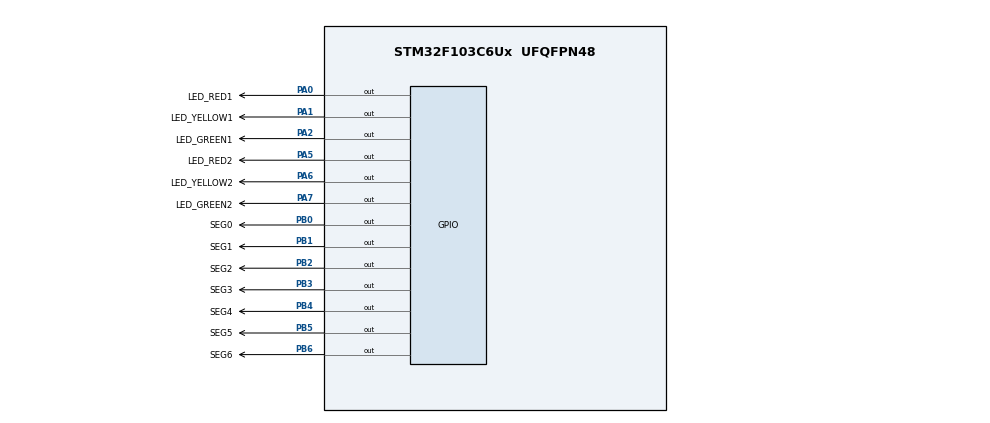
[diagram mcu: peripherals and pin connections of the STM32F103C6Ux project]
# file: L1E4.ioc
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Mcu.Family=STM32F1
Mcu.Name=STM32F103C6Ux
Mcu.Package=UFQFPN48
NVIC.PriorityGroup=NVIC_PRIORITYGROUP_4
PA0-WKUP.GPIO_Label=LED_RED1
PA0-WKUP.Signal=GPIO_Output
PA1.GPIO_Label=LED_YELLOW1
PA1.Signal=GPIO_Output
PA2.GPIO_Label=LED_GREEN1
PA2.Signal=GPIO_Output
PA5.GPIO_Label=LED_RED2
PA5.Signal=GPIO_Output
PA6.GPIO_Label=LED_YELLOW2
PA6.Signal=GPIO_Output
PA7.GPIO_Label=LED_GREEN2
PA7.Signal=GPIO_Output
PB0.GPIO_Label=SEG0
PB0.Signal=GPIO_Output
PB1.GPIO_Label=SEG1
PB1.Signal=GPIO_Output
PB2.GPIO_Label=SEG2
PB2.Signal=GPIO_Output
PB3.GPIO_Label=SEG3
PB3.Signal=GPIO_Output
PB4.GPIO_Label=SEG4
PB4.Signal=GPIO_Output
PB5.GPIO_Label=SEG5
PB5.Signal=GPIO_Output
PB6.GPIO_Label=SEG6
PB6.Signal=GPIO_Output
ProjectManager.HeapSize=0x200
ProjectManager.StackSize=0x400
ProjectManager.TargetToolchain=STM32CubeIDE
RCC.APB1Freq_Value=8000000
RCC.APB2Freq_Value=8000000
VP_SYS_VS_ND.Mode=No_Debug
board=custom

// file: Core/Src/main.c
/* USER CODE BEGIN Header */
/**
  ******************************************************************************
  * @file           : main.c
  * @brief          : Main program body
  ******************************************************************************
  * @attention
  *
  * <h2><center>&copy; Copyright (c) 2023 STMicroelectronics.
  * All rights reserved.</center></h2>
  *
  * This software component is licensed by ST under BSD 3-Clause license,
  * the "License"; You may not use this file except in compliance with the
  * License. You may obtain a copy of the License at:
  *                        opensource.org/licenses/BSD-3-Clause
  *
  ******************************************************************************
  */
/* USER CODE END Header */
#include "main.h"

void SystemClock_Config(void);
static void MX_GPIO_Init(void);
/* USER CODE BEGIN PFP */
void display7SEG(int);
/* USER CODE END PFP */

int main(void)
{

  /* MCU Configuration--------------------------------------------------------*/

  /* Reset of all peripherals, Initializes the Flash interface and the Systick. */
  HAL_Init();

  /* Configure the system clock */
  SystemClock_Config();

  /* Initialize all configured peripherals */
  MX_GPIO_Init();

  /* Infinite loop */
  /* USER CODE BEGIN WHILE */

  int duration1 = 0, duration2 = 0;
  int ledR1 = 0, ledY1 = 0, ledG1 = 0,
  		  ledR2 = 0, ledY2 = 0, ledG2 = 0;
  int num = 0;

  while (1)
  {
    /* USER CODE END WHILE */
	  if (!duration1){
	  	  		  /* CURRENT IS RED, ABOUT TO TURN GREEN */
	  	  	  		if (ledR1 && !ledG1 && !ledY1){
	  	  	  			HAL_GPIO_WritePin(LED_RED1_GPIO_Port , LED_RED1_Pin, GPIO_PIN_SET);
	  	  	  			HAL_GPIO_WritePin(LED_GREEN1_GPIO_Port , LED_GREEN1_Pin, GPIO_PIN_RESET);
	  	  	  			ledR1 = 0; ledG1 = 1; ledY1 = 0;
	  	  	  			duration1 = 3;
	  	  	  		}

	  	  	  		/* CURRENT IS GREEN, ABOUT TO TURN YELLOW */
	  	  	  		else if (!ledR1 && ledG1 && !ledY1){
	  	  		  		HAL_GPIO_WritePin(LED_GREEN1_GPIO_Port , LED_GREEN1_Pin, GPIO_PIN_SET);
	  	  				HAL_GPIO_WritePin(LED_YELLOW1_GPIO_Port , LED_YELLOW1_Pin, GPIO_PIN_RESET);
	  	  	  			ledR1 = 0; ledG1 = 0; ledY1 = 1;
	  	  	  			duration1 = 2;
	  	  	  		}

	  	  	  		/* CURRENT IS YELLOW, ABOUT TO TURN RED */
	  	  	  		else if (!ledR1 && !ledG1 && ledY1){
	  	  	  			HAL_GPIO_WritePin(LED_RED1_GPIO_Port , LED_RED1_Pin, GPIO_PIN_RESET);
	  	  	  			HAL_GPIO_WritePin(LED_YELLOW1_GPIO_Port , LED_YELLOW1_Pin, GPIO_PIN_SET);
	  	  	  			ledR1 = 1; ledG1 = 0; ledY1 = 0;
	  	  	  			duration1 = 5;
	  	  	  		}

	  	  	  		else{
	  	  	  			HAL_GPIO_WritePin(LED_RED1_GPIO_Port , LED_RED1_Pin, GPIO_PIN_RESET);
	  	  	  			HAL_GPIO_WritePin(LED_GREEN1_GPIO_Port , LED_GREEN1_Pin, GPIO_PIN_SET);
	  	  	  			HAL_GPIO_WritePin(LED_YELLOW1_GPIO_Port , LED_YELLOW1_Pin, GPIO_PIN_SET);
	  	  	  			ledR1 = 1; ledG1 = 0; ledY1 = 0;
	  	  	  			duration1 = 5;
	  	  	  		}
	  	  	  	}
	  	  	  	duration1--;

	  	  	  if (!duration2){
	  	  	 	  /* CURRENT IS RED, ABOUT TO TURN GREEN */
	  	  	  		if (ledR2 && !ledG2 && !ledY2){
	  	  	  			HAL_GPIO_WritePin(LED_RED2_GPIO_Port , LED_RED2_Pin, GPIO_PIN_SET);
	  	  	   			HAL_GPIO_WritePin(LED_GREEN2_GPIO_Port , LED_GREEN2_Pin, GPIO_PIN_RESET);
	  	  	   			ledR2 = 0; ledG2 = 1; ledY2 = 0;
	  	  	   			duration2 = 3;
	  	  	   		}

	  	  	  		/* CURRENT IS GREEN, ABOUT TO TURN YELLOW */
	  	  	   		else if (!ledR2 && ledG2 && !ledY2){
	  	  	 	  		HAL_GPIO_WritePin(LED_GREEN2_GPIO_Port , LED_GREEN2_Pin, GPIO_PIN_SET);
	  	  	 			HAL_GPIO_WritePin(LED_YELLOW2_GPIO_Port , LED_YELLOW2_Pin, GPIO_PIN_RESET);
	  	  	   			ledR2 = 0; ledG2 = 0; ledY2 = 1;
	  	  	   			duration2 = 2;
	  	  	   		}

	  	  	   		/* CURRENT IS YELLOW, ABOUT TO TURN RED */
	  	  	   		else if (!ledR2 && !ledG2 && ledY2){
	  	  	   			HAL_GPIO_WritePin(LED_RED2_GPIO_Port , LED_RED2_Pin, GPIO_PIN_RESET);
	  	  	   			HAL_GPIO_WritePin(LED_YELLOW2_GPIO_Port , LED_YELLOW2_Pin, GPIO_PIN_SET);
	  	  	   			ledR2 = 1; ledG2 = 0; ledY2 = 0;
	  	  	   			duration2 = 5;
	  	  	   		}

	  	  	   		else{
	  	  	   			HAL_GPIO_WritePin(LED_RED2_GPIO_Port , LED_RED2_Pin, GPIO_PIN_SET);
	  	  	   			HAL_GPIO_WritePin(LED_GREEN2_GPIO_Port , LED_GREEN2_Pin, GPIO_PIN_RESET);
	  	  	   			HAL_GPIO_WritePin(LED_YELLOW2_GPIO_Port , LED_YELLOW2_Pin, GPIO_PIN_SET);
	  	  	   			ledR2 = 0; ledG2 = 1; ledY2 = 0;
	  	  	   			duration2 = 3;
	  	  	   		}
	  	  	   	}
	    	  	  	duration2--;

	    	 if (num >= 10) num = 0;
	    	 display7SEG(num++);

	  	  	  	HAL_Delay(1000);
  }
}

void SystemClock_Config(void)
{
  RCC_OscInitTypeDef RCC_OscInitStruct = {0};
  RCC_ClkInitTypeDef RCC_ClkInitStruct = {0};

  /** Initializes the RCC Oscillators according to the specified parameters
  * in the RCC_OscInitTypeDef structure.
  */
  RCC_OscInitStruct.OscillatorType = RCC_OSCILLATORTYPE_HSI;
  RCC_OscInitStruct.HSIState = RCC_HSI_ON;
  RCC_OscInitStruct.HSICalibrationValue = RCC_HSICALIBRATION_DEFAULT;
  RCC_OscInitStruct.PLL.PLLState = RCC_PLL_NONE;
  if (HAL_RCC_OscConfig(&RCC_OscInitStruct) != HAL_OK)
  {
    Error_Handler();
  }
  /** Initializes the CPU, AHB and APB buses clocks
  */
  RCC_ClkInitStruct.ClockType = RCC_CLOCKTYPE_HCLK|RCC_CLOCKTYPE_SYSCLK
                              |RCC_CLOCKTYPE_PCLK1|RCC_CLOCKTYPE_PCLK2;
  RCC_ClkInitStruct.SYSCLKSource = RCC_SYSCLKSOURCE_HSI;
  RCC_ClkInitStruct.AHBCLKDivider = RCC_SYSCLK_DIV1;
  RCC_ClkInitStruct.APB1CLKDivider = RCC_HCLK_DIV1;
  RCC_ClkInitStruct.APB2CLKDivider = RCC_HCLK_DIV1;

  if (HAL_RCC_ClockConfig(&RCC_ClkInitStruct, FLASH_LATENCY_0) != HAL_OK)
  {
    Error_Handler();
  }
}

static void MX_GPIO_Init(void)
{
  GPIO_InitTypeDef GPIO_InitStruct = {0};

  /* GPIO Ports Clock Enable */
  __HAL_RCC_GPIOA_CLK_ENABLE();
  __HAL_RCC_GPIOB_CLK_ENABLE();

  /*Configure GPIO pin Output Level */
  HAL_GPIO_WritePin(GPIOA, LED_RED1_Pin|LED_YELLOW1_Pin|LED_GREEN1_Pin|LED_RED2_Pin
                          |LED_YELLOW2_Pin|LED_GREEN2_Pin, GPIO_PIN_RESET);

  /*Configure GPIO pin Output Level */
  HAL_GPIO_WritePin(GPIOB, SEG0_Pin|SEG1_Pin|SEG2_Pin|SEG3_Pin
                          |SEG4_Pin|SEG5_Pin|SEG6_Pin, GPIO_PIN_RESET);

  /*Configure GPIO pins : LED_RED1_Pin LED_YELLOW1_Pin SEG6REEN1_Pin LED_RED2_Pin
                           LED_YELLOW2_Pin SEG6REEN2_Pin */
  GPIO_InitStruct.Pin = LED_RED1_Pin|LED_YELLOW1_Pin|LED_GREEN1_Pin|LED_RED2_Pin
                          |LED_YELLOW2_Pin|LED_GREEN2_Pin;
  GPIO_InitStruct.Mode = GPIO_MODE_OUTPUT_PP;
  GPIO_InitStruct.Pull = GPIO_NOPULL;
  GPIO_InitStruct.Speed = GPIO_SPEED_FREQ_LOW;
  HAL_GPIO_Init(GPIOA, &GPIO_InitStruct);

  /*Configure GPIO pins : SEG0_Pin SEG1_Pin SEG2_Pin SEG3_Pin
                           SEG4_Pin SEG5_Pin SEG6_Pin */
  GPIO_InitStruct.Pin = SEG0_Pin|SEG1_Pin|SEG2_Pin|SEG3_Pin
                          |SEG4_Pin|SEG5_Pin|SEG6_Pin;
  GPIO_InitStruct.Mode = GPIO_MODE_OUTPUT_PP;
  GPIO_InitStruct.Pull = GPIO_NOPULL;
  GPIO_InitStruct.Speed = GPIO_SPEED_FREQ_LOW;
  HAL_GPIO_Init(GPIOB, &GPIO_InitStruct);

}

/* USER CODE BEGIN 4 */
void display7SEG(int counter){
	switch (counter){
		case 0:
			HAL_GPIO_WritePin(GPIOB , SEG0_Pin | SEG1_Pin | SEG2_Pin | SEG3_Pin |
							  SEG4_Pin | SEG5_Pin , GPIO_PIN_RESET);
			HAL_GPIO_WritePin(GPIOB , SEG6_Pin , GPIO_PIN_SET);
			break;

		case 1:
			HAL_GPIO_WritePin(GPIOB , SEG1_Pin | SEG2_Pin , GPIO_PIN_RESET);
			HAL_GPIO_WritePin(GPIOB , SEG0_Pin | SEG3_Pin | SEG4_Pin | SEG5_Pin | SEG6_Pin , GPIO_PIN_SET);
			break;

		case 2:
			HAL_GPIO_WritePin(GPIOB , SEG0_Pin | SEG1_Pin | SEG3_Pin | SEG4_Pin | SEG6_Pin , GPIO_PIN_RESET);
			HAL_GPIO_WritePin(GPIOB , SEG2_Pin | SEG5_Pin , GPIO_PIN_SET);
			break;

		case 3:
			HAL_GPIO_WritePin(GPIOB , SEG0_Pin | SEG1_Pin | SEG2_Pin | SEG3_Pin | SEG6_Pin , GPIO_PIN_RESET);
			HAL_GPIO_WritePin(GPIOB , SEG4_Pin | SEG5_Pin , GPIO_PIN_SET);
			break;

		case 4:
			HAL_GPIO_WritePin(GPIOB , SEG1_Pin | SEG2_Pin | SEG5_Pin | SEG6_Pin , GPIO_PIN_RESET);
			HAL_GPIO_WritePin(GPIOB , SEG0_Pin | SEG3_Pin | SEG4_Pin , GPIO_PIN_SET);
			break;

		case 5:
			HAL_GPIO_WritePin(GPIOB , SEG0_Pin | SEG2_Pin | SEG3_Pin | SEG5_Pin | SEG6_Pin , GPIO_PIN_RESET);
			HAL_GPIO_WritePin(GPIOB , SEG1_Pin | SEG4_Pin , GPIO_PIN_SET);
			break;

		case 6:
			HAL_GPIO_WritePin(GPIOB , SEG0_Pin | SEG2_Pin | SEG3_Pin | SEG4_Pin |
							  SEG5_Pin | SEG6_Pin , GPIO_PIN_RESET);
			HAL_GPIO_WritePin(GPIOB , SEG1_Pin , GPIO_PIN_SET);
			break;

		case 7:
			HAL_GPIO_WritePin(GPIOB , SEG0_Pin | SEG1_Pin | SEG2_Pin , GPIO_PIN_RESET);
			HAL_GPIO_WritePin(GPIOB , SEG3_Pin | SEG4_Pin | SEG5_Pin | SEG6_Pin , GPIO_PIN_SET);
			break;

		case 8:
			HAL_GPIO_WritePin(GPIOB , SEG0_Pin | SEG1_Pin | SEG2_Pin | SEG3_Pin |
							  SEG4_Pin | SEG5_Pin | SEG6_Pin , GPIO_PIN_RESET);
			break;

		case 9:
			HAL_GPIO_WritePin(GPIOB , SEG0_Pin | SEG1_Pin | SEG2_Pin | SEG3_Pin |
							  SEG5_Pin | SEG6_Pin , GPIO_PIN_RESET);
			HAL_GPIO_WritePin(GPIOB , SEG4_Pin , GPIO_PIN_SET);
			break;

		default:
			HAL_GPIO_WritePin(GPIOB , SEG0_Pin | SEG1_Pin | SEG2_Pin | SEG3_Pin |
										  SEG4_Pin | SEG5_Pin | SEG6_Pin , GPIO_PIN_SET);
			break;
	}
}
/* USER CODE END 4 */

void Error_Handler(void)
{
  __disable_irq();
  while (1)
  {
  }
}

/************************ (C) COPYRIGHT STMicroelectronics *****END OF FILE****/
